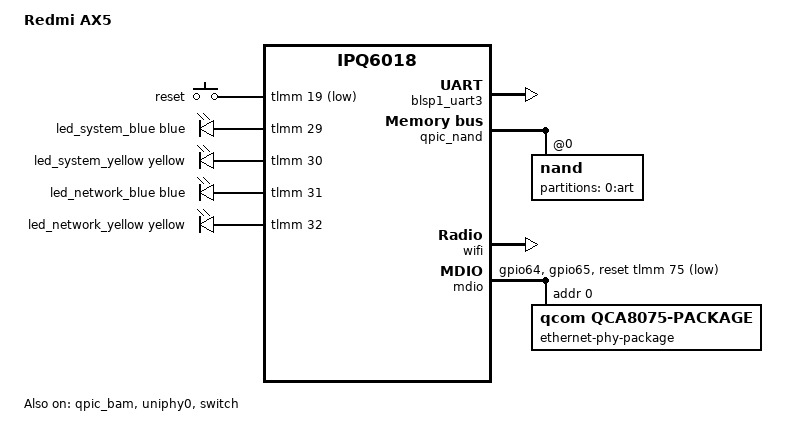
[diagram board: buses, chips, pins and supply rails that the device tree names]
// SPDX-License-Identifier: GPL-2.0-or-later OR MIT

/dts-v1/;

#include "ipq6018.dtsi"
#include "ipq6018-cp-cpu.dtsi"
#include "ipq6018-ess.dtsi"

#include <dt-bindings/gpio/gpio.h>
#include <dt-bindings/input/input.h>
#include <dt-bindings/leds/common.h>

/ {
	model = "Redmi AX5";
	compatible = "redmi,ax5", "qcom,ipq6018";
	qcom,msm-id = <0x192 0x0>;

	aliases {
		serial0 = &blsp1_uart3;

		led-boot = &led_system_yellow;
		led-failsafe = &led_system_blue;
		led-running = &led_system_blue;
		led-upgrade = &led_system_yellow;

		ethernet1 = &swport2;
		ethernet2 = &swport3;
		ethernet3 = &swport4;
		ethernet4 = &swport5;

		label-mac-device = &swport5;
	};

	chosen {
		stdout-path = "serial0:115200n8";
		bootargs-append = " root=/dev/ubiblock0_1 swiotlb=1 coherent_pool=512K";
	};

	keys {
		compatible = "gpio-keys";

		reset {
			label = "reset";
			linux,code = <KEY_RESTART>;
			gpios = <&tlmm 19 GPIO_ACTIVE_LOW>;
		};
	};

	leds {
		compatible = "gpio-leds";

		led_system_blue: system-blue {
			color = <LED_COLOR_ID_BLUE>;
			function = LED_FUNCTION_STATUS;
			gpios = <&tlmm 29 GPIO_ACTIVE_HIGH>;
		};

		led_system_yellow: system-yellow {
			color = <LED_COLOR_ID_YELLOW>;
			function = LED_FUNCTION_STATUS;
			gpios = <&tlmm 30 GPIO_ACTIVE_HIGH>;
		};

		led_network_blue: network-blue {
			color = <LED_COLOR_ID_BLUE>;
			function = "network";
			gpios = <&tlmm 31 GPIO_ACTIVE_HIGH>;
		};

		led_network_yellow: network-yellow {
			color = <LED_COLOR_ID_YELLOW>;
			function = "network";
			gpios = <&tlmm 32 GPIO_ACTIVE_HIGH>;
		};
	};
};

&tlmm {
	mdio_pins: mdio-pins {
		mdc {
			pins = "gpio64";
			function = "mdc";
			drive-strength = <8>;
			bias-pull-up;
		};

		mdio {
			pins = "gpio65";
			function = "mdio";
			drive-strength = <8>;
			bias-pull-up;
		};
	};
};

&blsp1_uart3 {
	status = "okay";
	pinctrl-0 = <&serial_3_pins>;
	pinctrl-names = "default";
};

&qpic_bam {
	status = "okay";
};

&qpic_nand {
	status = "okay";

	nand@0 {
		reg = <0>;
		nand-ecc-strength = <4>;
		nand-ecc-step-size = <512>;
		nand-bus-width = <8>;

		partitions {
			compatible = "qcom,smem-part";

			partition-0-art {
				label = "0:art";
				read-only;

				nvmem-layout {
					compatible = "fixed-layout";
					#address-cells = <1>;
					#size-cells = <1>;

					lanaddr: macaddr@6 {
						reg = <0x6 0x6>;
					};

					wanaddr: macaddr@18 {
						reg = <0x18 0x6>;
					};

					caldata: caldata@1000 {
						reg = <0x1000 0x10000>;
					};
				};
			};
		};
	};
};

&wifi {
	status = "okay";
	/*
	 * Mode 2, as stock (qcom,tgt-mem-mode = <2>): the 256 MiB profile,
	 * which caps the firmware at 8 VDEVs and 128 peers.
	 */
	qcom,ath11k-fw-memory-mode = <2>;
	qcom,calibration-variant = "Redmi-AX5";
	nvmem-cells = <&caldata>;
	nvmem-cell-names = "calibration";
};

&mdio {
	status = "okay";

	pinctrl-0 = <&mdio_pins>;
	pinctrl-names = "default";
	reset-gpios = <&tlmm 75 GPIO_ACTIVE_LOW>;

	ethernet-phy-package@0 {
		compatible = "qcom,qca8075-package";
		qcom,package-mode = "psgmii";
		#address-cells = <1>;
		#size-cells = <0>;
		reg = <0>;

		qca8075_1: ethernet-phy@1 {
			compatible = "ethernet-phy-ieee802.3-c22";
			reg = <1>;
		};

		qca8075_2: ethernet-phy@2 {
			compatible = "ethernet-phy-ieee802.3-c22";
			reg = <2>;
		};

		qca8075_3: ethernet-phy@3 {
			compatible = "ethernet-phy-ieee802.3-c22";
			reg = <3>;
		};

		qca8075_4: ethernet-phy@4 {
			compatible = "ethernet-phy-ieee802.3-c22";
			reg = <4>;
		};
	};
};

&uniphy0 {
	status = "okay";
};

&switch {
	status = "okay";

	ports {
		#address-cells = <1>;
		#size-cells = <0>;

		port@0 {
			reg = <0>;
			ethernet = <&edma>;
			phy-mode = "internal";

			fixed-link {
				speed = <1000>;
				full-duplex;
			};
		};

		swport2: port@2 {
			reg = <2>;
			label = "lan1";
			phy-handle = <&qca8075_1>;
			phy-mode = "psgmii";
			pcs-handle = <&uniphy0 1>;
			nvmem-cells = <&lanaddr>;
			nvmem-cell-names = "mac-address";
		};

		swport3: port@3 {
			reg = <3>;
			label = "lan2";
			phy-handle = <&qca8075_2>;
			phy-mode = "psgmii";
			pcs-handle = <&uniphy0 2>;
			nvmem-cells = <&lanaddr>;
			nvmem-cell-names = "mac-address";
		};

		swport4: port@4 {
			reg = <4>;
			label = "lan3";
			phy-handle = <&qca8075_3>;
			phy-mode = "psgmii";
			pcs-handle = <&uniphy0 3>;
			nvmem-cells = <&lanaddr>;
			nvmem-cell-names = "mac-address";
		};

		swport5: port@5 {
			reg = <5>;
			label = "wan";
			phy-handle = <&qca8075_4>;
			phy-mode = "psgmii";
			pcs-handle = <&uniphy0 4>;
			nvmem-cells = <&wanaddr>;
			nvmem-cell-names = "mac-address";
		};
	};
};

&edma {
	status = "okay";
};

/*
 * The reserved-memory layout follows the stock firmware's 256 MiB
 * profile. NSS is unused, but the region stays reserved: dropping it
 * makes the device unstable. 8 MiB is the size stock uses here, half
 * of what the ipq6018 NSS patch reserves.
 */
&nss_region {
	reg = <0x0 0x40000000 0x0 0x00800000>;
};

/* Stock uses the bootloader range as RAM as well: recover 4 MiB. */
&{/reserved-memory} {
	/delete-node/ bootloader@4a100000;
};

/*
 * 40 MiB, as stock (wcnss@4ab00000). The firmware in memory mode 2
 * asks for 39.25 MiB. The default 85 MiB would run to the top of RAM.
 */
&q6_region {
	reg = <0x0 0x4ab00000 0x0 0x02800000>;
};

/*
 * The Q6 ETR and M3 dump buffers, at the addresses stock reserves for
 * them right after the Q6 region. The ipq6018 dtsi does not carry them.
 */
/ {
	reserved-memory {
		q6_etr_dump@4d300000 {
			reg = <0x0 0x4d300000 0x0 0x100000>;
			no-map;
		};

		m3_dump@4d400000 {
			reg = <0x0 0x4d400000 0x0 0x100000>;
			no-map;
		};
	};
};
